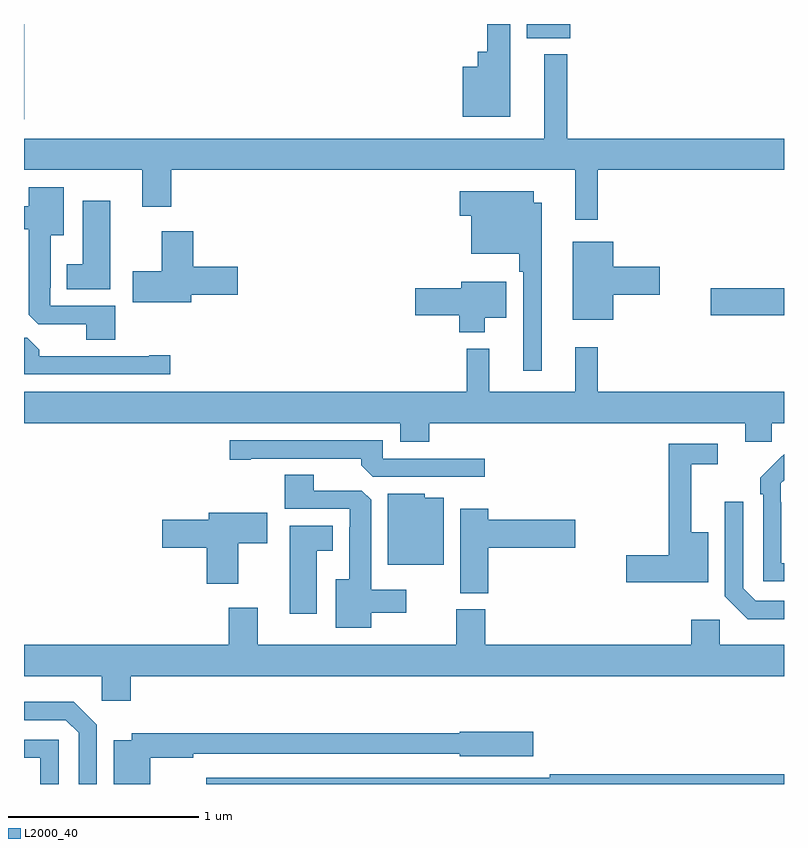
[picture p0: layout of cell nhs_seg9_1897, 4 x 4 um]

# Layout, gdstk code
import gdstk
lib = gdstk.Library(unit=1e-6, precision=1e-09)
def R(c, l, rs):  # rectangles x0, y0, x1, y1
    for r in rs: c.add(gdstk.rectangle(r[:2], r[2:], *l))
def P(c, l, *ps):  # polygons
    for p in ps: c.add(gdstk.Polygon(p, *l))
L2000_40 = (2000, 40)

nhs_seg9_1897 = lib.new_cell('nhs_seg9_1897')
R(nhs_seg9_1897, L2000_40, [(220.614,1216.966,221,1217.108), (217,1218,217.001,1218.5), (219.647,1218.425,219.874,1218.5)])
P(nhs_seg9_1897, L2000_40, [(219.559,1218.5),(219.438,1218.5),(219.438,1218.355),(219.389,1218.355),(219.389,1218.274),(219.308,1218.274),(219.308,1218.011),(219.559,1218.011)],
  [(220.019,1217.732),(221,1217.732),(221,1217.896),(219.859,1217.896),(219.859,1218.34),(219.737,1218.34),(219.737,1217.896),(217,1217.896),(217,1217.732),(217.622,1217.732),(217.622,1217.538),(217.775,1217.538),(217.775,1217.732),(219.901,1217.732),(219.901,1217.469),(220.019,1217.469)],
  [(217.481,1217.016),(217.137,1217.016),(217.137,1217.113),(217.141,1217.113),(217.141,1217.387),(217.21,1217.387),(217.21,1217.641),(217.025,1217.641),(217.025,1217.542),(217,1217.542),(217,1217.42),(217.025,1217.42),(217.025,1216.969),(217.074,1216.92),(217.328,1216.92),(217.328,1216.837),(217.481,1216.837)],
  [(219.724,1217.56),(219.682,1217.56),(219.682,1217.62),(219.294,1217.62),(219.294,1217.491),(219.353,1217.491),(219.353,1217.291),(219.607,1217.291),(219.607,1217.195),(219.627,1217.195),(219.627,1216.674),(219.724,1216.674)],
  [(217.453,1217.569),(217.31,1217.569),(217.31,1217.236),(217.226,1217.236),(217.226,1217.105),(217.453,1217.105)],
  [(217.879,1217.075),(218.125,1217.075),(218.125,1217.222),(217.892,1217.222),(217.892,1217.41),(217.724,1217.41),(217.724,1217.199),(217.572,1217.199),(217.572,1217.036),(217.879,1217.036)],
  [(220.102,1217.075),(220.345,1217.075),(220.345,1217.222),(220.102,1217.222),(220.102,1217.353),(219.887,1217.353),(219.887,1216.943),(220.102,1216.943)],
  [(219.424,1216.955),(219.538,1216.955),(219.538,1217.143),(219.302,1217.143),(219.302,1217.108),(219.06,1217.108),(219.06,1216.966),(219.29,1216.966),(219.29,1216.877),(219.424,1216.877)],
  [(217.771,1216.757),(217.658,1216.757),(217.658,1216.752),(217.079,1216.752),(217.079,1216.786),(217.017,1216.848),(217,1216.848),(217,1216.656),(217.771,1216.656)],
  [(219.134,1216.4),(220.796,1216.4),(220.796,1216.302),(220.935,1216.302),(220.935,1216.4),(221,1216.4),(221,1216.564),(220.019,1216.564),(220.019,1216.798),(219.902,1216.798),(219.902,1216.564),(219.449,1216.564),(219.449,1216.792),(219.331,1216.792),(219.331,1216.564),(217,1216.564),(217,1216.4),(218.981,1216.4),(218.981,1216.301),(219.134,1216.301)],
  [(219.424,1216.212),(218.889,1216.212),(218.889,1216.308),(218.082,1216.308),(218.082,1216.207),(218.194,1216.207),(218.194,1216.212),(218.774,1216.212),(218.774,1216.178),(218.835,1216.116),(219.424,1216.116)],
  [(220.6,1215.826),(220.511,1215.826),(220.511,1216.182),(220.651,1216.182),(220.651,1216.29),(220.393,1216.29),(220.393,1215.704),(220.17,1215.704),(220.17,1215.562),(220.6,1215.562)],
  [(221,1215.663),(220.986,1215.663),(220.986,1215.983),(220.983,1215.983),(220.983,1216.083),(221,1216.1),(221,1216.236),(220.981,1216.217),(220.98,1216.218),(220.875,1216.113),(220.875,1216.025),(220.89,1216.025),(220.89,1215.567),(221,1215.567)],
  [(218.827,1215.401),(219.013,1215.401),(219.013,1215.523),(218.827,1215.523),(218.827,1215.995),(218.778,1216.044),(218.524,1216.044),(218.524,1216.127),(218.372,1216.127),(218.372,1215.948),(218.715,1215.948),(218.715,1215.851),(218.711,1215.851),(218.711,1215.577),(218.642,1215.577),(218.642,1215.323),(218.827,1215.323)],
  [(219.208,1216.006),(219.108,1216.006),(219.108,1216.027),(218.915,1216.027),(218.915,1215.653),(219.208,1215.653)],
  [(221,1215.465),(220.851,1215.465),(220.785,1215.531),(220.785,1215.985),(220.689,1215.985),(220.689,1215.489),(220.81,1215.368),(221,1215.368)],
  [(219.443,1215.743),(219.901,1215.743),(219.901,1215.89),(219.443,1215.89),(219.443,1215.949),(219.296,1215.949),(219.296,1215.505),(219.443,1215.505)],
  [(218.128,1215.766),(218.281,1215.766),(218.281,1215.928),(217.973,1215.928),(217.973,1215.89),(217.728,1215.89),(217.728,1215.743),(217.961,1215.743),(217.961,1215.555),(218.128,1215.555)],
  [(218.542,1215.728),(218.626,1215.728),(218.626,1215.859),(218.399,1215.859),(218.399,1215.396),(218.542,1215.396)],
  [(217.562,1215.068),(221,1215.068),(221,1215.232),(220.662,1215.232),(220.662,1215.364),(220.511,1215.364),(220.511,1215.232),(219.428,1215.232),(219.428,1215.42),(219.275,1215.42),(219.275,1215.232),(218.23,1215.232),(218.23,1215.427),(218.078,1215.427),(218.078,1215.232),(217,1215.232),(217,1215.068),(217.41,1215.068),(217.41,1214.937),(217.562,1214.937)],
  [(217.383,1214.811),(217.262,1214.932),(217,1214.932),(217,1214.835),(217.221,1214.835),(217.287,1214.769),(217.287,1214.5),(217.383,1214.5)],
  [(217.664,1214.638),(217.892,1214.638),(217.892,1214.658),(219.294,1214.658),(219.294,1214.645),(219.679,1214.645),(219.679,1214.775),(219.294,1214.775),(219.294,1214.767),(217.566,1214.767),(217.566,1214.731),(217.472,1214.731),(217.472,1214.5),(217.664,1214.5)],
  [(217.182,1214.733),(217,1214.733),(217,1214.637),(217.086,1214.637),(217.086,1214.5),(217.182,1214.5)],
  [(221,1214.552),(219.766,1214.552),(219.766,1214.532),(217.958,1214.532),(217.958,1214.5),(221,1214.5)])

lib.write_gds('nhs_seg9_1897.gds')
